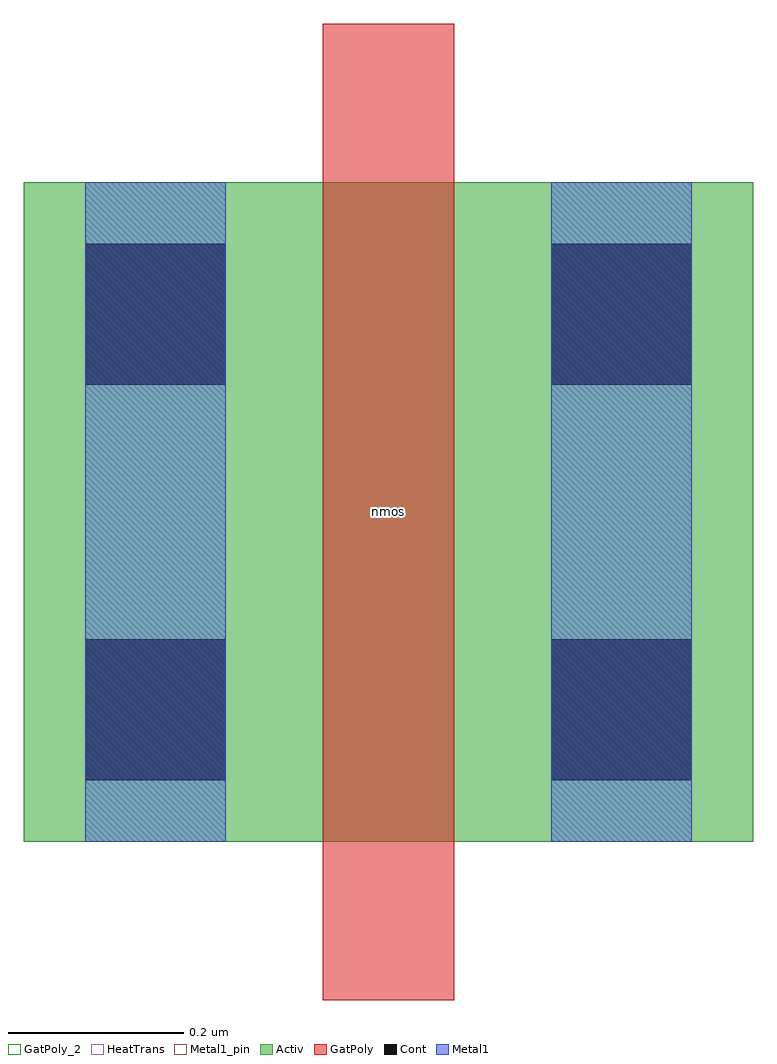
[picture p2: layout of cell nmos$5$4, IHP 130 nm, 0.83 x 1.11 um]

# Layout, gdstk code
import gdstk
lib = gdstk.Library(unit=1e-6, precision=5e-09)
def R(c, l, rs):  # rectangles x0, y0, x1, y1
    for r in rs: c.add(gdstk.rectangle(r[:2], r[2:], *l))
Activ = (1, 0)
GatPoly = (5, 0)
GatPoly_2 = (5, 2)
Cont = (6, 0)
Metal1 = (8, 0)
Metal1_pin = (8, 2)
HeatTrans = (51, 0)

nmos_5_4 = lib.new_cell('nmos$5$4')
R(nmos_5_4, Activ, [(0,0,0.3,0.3), (0,0,0.83,0.75), (0.53,0,0.83,0.3)])
R(nmos_5_4, GatPoly, [(0.34,-0.18,0.49,0.93)])
R(nmos_5_4, GatPoly_2, [(0.34,-0.18,0.49,0.93)])
R(nmos_5_4, Cont, [(0.07,0.07,0.23,0.23), (0.6,0.07,0.76,0.23), (0.07,0.52,0.23,0.68), (0.6,0.52,0.76,0.68)])
R(nmos_5_4, Metal1, [(0.07,0,0.23,0.75), (0.6,0,0.76,0.75)])
R(nmos_5_4, Metal1_pin, [(0.07,0,0.23,0.75), (0.6,0,0.76,0.75)])
R(nmos_5_4, HeatTrans, [(0.34,-0.18,0.49,0.93)])
nmos_5_4.add(gdstk.Label('nmos', (0.415,0.375), layer=63, texttype=0))
nmos_5_4.add(gdstk.Label('nmos', (0.415,0.375), layer=51, texttype=0))

lib.write_gds('nmos_5_4.gds')
